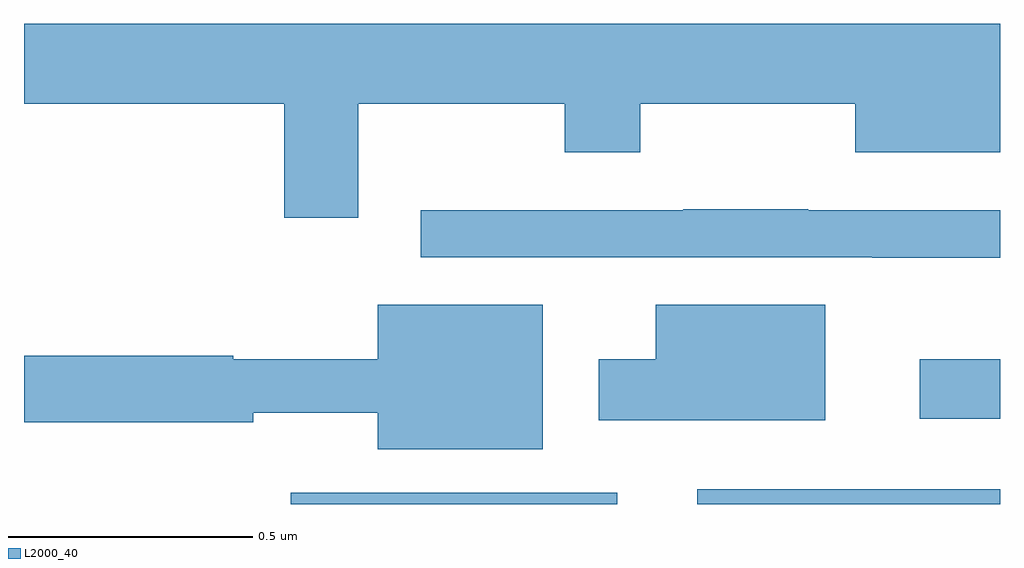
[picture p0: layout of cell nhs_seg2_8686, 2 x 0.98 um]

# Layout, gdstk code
import gdstk
lib = gdstk.Library(unit=1e-6, precision=1e-09)
def R(c, l, rs):  # rectangles x0, y0, x1, y1
    for r in rs: c.add(gdstk.rectangle(r[:2], r[2:], *l))
def P(c, l, *ps):  # polygons
    for p in ps: c.add(gdstk.Polygon(p, *l))
L2000_40 = (2000, 40)

nhs_seg2_8686 = lib.new_cell('nhs_seg2_8686')
R(nhs_seg2_8686, L2000_40, [(219.547,662.8,220.216,662.823), (220.38,662.8,221,662.83), (220.836,662.975,221,663.097)])
P(nhs_seg2_8686, L2000_40, [(219.685,663.62),(220.108,663.62),(220.108,663.521),(220.263,663.521),(220.263,663.62),(220.703,663.62),(220.703,663.521),(221,663.521),(221,663.784),(219,663.784),(219,663.62),(219.533,663.62),(219.533,663.387),(219.685,663.387)],
  [(221,663.402),(220.607,663.402),(220.607,663.404),(220.351,663.404),(220.351,663.402),(219.813,663.402),(219.813,663.306),(220.738,663.306),(220.738,663.305),(221,663.305)],
  [(220.642,663.208),(220.295,663.208),(220.295,663.097),(220.178,663.097),(220.178,662.972),(220.642,662.972)],
  [(220.063,663.208),(219.725,663.208),(219.725,663.097),(219.429,663.097),(219.429,663.104),(219,663.104),(219,662.968),(219.47,662.968),(219.47,662.987),(219.725,662.987),(219.725,662.912),(220.063,662.912)])

lib.write_gds('nhs_seg2_8686.gds')
